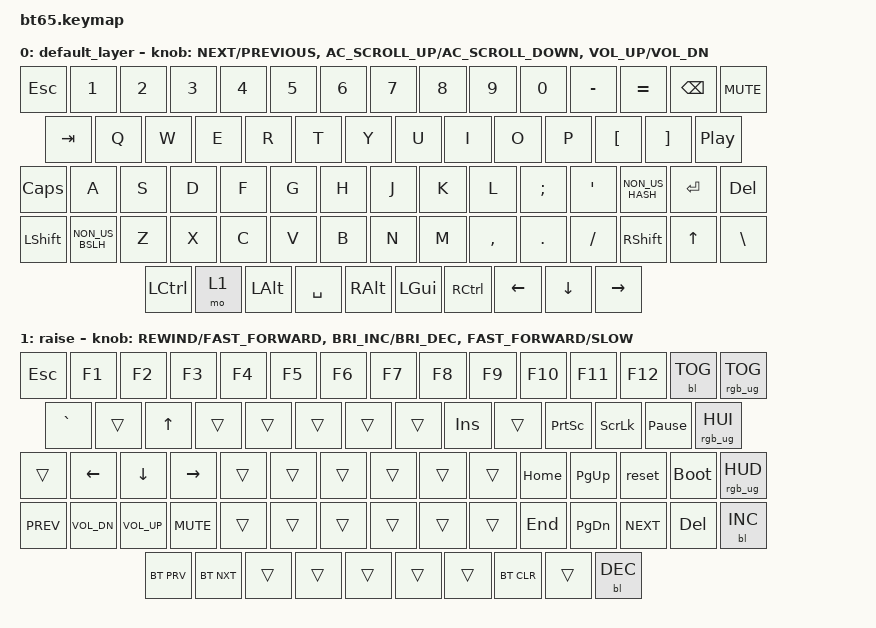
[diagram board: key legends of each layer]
#include <behaviors.dtsi>
#include <dt-bindings/zmk/keys.h>
#include <dt-bindings/zmk/bt.h>
#include <dt-bindings/zmk/rgb.h>
#include <dt-bindings/zmk/backlight.h>
#include <dt-bindings/zmk/ext_power.h>

/ {
    macros {
        forward_tab: forward_tab {
            label = "For_forward_tab";
            compatible = "zmk,behavior-macro";
            #binding-cells = <0>;
	    wait-ms = <30>;
            tap-ms = <40>;
            bindings
                = <&macro_tap &kp TAB &kp LALT &kp LALT>
                ;
        };
	back_tab: back_tab {
            label = "For_back_tab";
            compatible = "zmk,behavior-macro";
            #binding-cells = <0>;
	    wait-ms = <10>;
            tap-ms = <10>;
            bindings
                = <&macro_press &kp LALT>
		, <&macro_press &kp LSHIFT>
                , <&macro_tap &kp TAB>
		, <&macro_release &kp LSHIFT>
		, <&macro_release &kp LALT>
                ;
        };
    };
};
/ {
	keymap {
		compatible = "zmk,keymap";

		default_layer {
				// ------------------------------------------------------------------------------------------------------------
				// |  `  |  1  |  2  |  3  |  4  |  5  |  6  |  7  |  8  |  9  |  0  |  -  |  =  |BKSP | INS		|
				// | TAB  |  Q  |  W  |  E  |  R  |  T  |  Y  |  U  |  I  |  O  |  P  |  [  |  ]  |   \    | DEL		|
				// | CAPS  |  A  |  S  |  D  |  F  |  G  |  H  |  J  |  K  |  L  |  ;  |  '  |     ENTER    |PGUP	|
				// |  SHIFT  |  Z  |  X  |  C  |  V  |  B  |  N  |  M  |  ,  |  .  | /   |   SHIFT  | UP   | PGDN|
				// |  CTL  |  WIN  |  ALT  |            SPACE               | ALT | 1    |  MENU| LEFT |  DOWN    | RIGHT	|
				// ------------------------------------------------------------------------------------------------------------
			bindings = <

				&kp ESC &kp N1 &kp N2 &kp N3 &kp N4 &kp N5 &kp N6 &kp N7 &kp  N8   &kp  N9   &kp N0 &kp MINUS &kp EQUAL &kp BKSP &kp C_MUTE
				&kp TAB  &kp Q  &kp W  &kp E  &kp R  &kp T  &kp Y  &kp U  &kp  I    &kp  O  &kp  P   &kp LBKT &kp RBKT		&kp C_PLAY_PAUSE
				&kp CLCK  &kp A  &kp S  &kp D  &kp F  &kp G  &kp H  &kp J  &kp  K    &kp  L  &kp SEMI &kp SQT &kp NON_US_HASH 	&kp RET &kp DEL
				&kp LSHFT &kp NON_US_BSLH &kp Z  &kp X  &kp C  &kp V  &kp B  &kp N  &kp M  &kp COMMA &kp DOT &kp FSLH   &kp RSHFT &kp UP &kp BSLH
				&kp LCTRL &mo 1 &kp LALT            &kp SPACE                          &kp RALT  &kp LGUI &kp RCTRL &kp LEFT &kp DOWN &kp RIGHT
			>;
			sensor-bindings = <&inc_dec_kp  C_NEXT C_PREVIOUS  &inc_dec_kp C_AC_SCROLL_UP C_AC_SCROLL_DOWN &inc_dec_kp C_VOL_UP C_VOL_DN>;
		};
		raise {
			bindings = <
				&kp ESC &kp F1 &kp F2 &kp F3 &kp F4 &kp F5 &kp F6 &kp F7 &kp  F8   &kp  F9   &kp F10  &kp F11 &kp F12 &bl BL_TOG &rgb_ug RGB_TOG
				&kp GRAVE &trans &kp UP &trans &trans &trans &trans &trans &kp INS &trans &kp PSCRN &kp SLCK &kp PAUSE_BREAK  &rgb_ug RGB_HUI
				&trans    &kp LEFT &kp DOWN &kp RIGHT &trans &trans &trans &trans &trans &trans &kp HOME  &kp PG_UP &reset  &bootloader &rgb_ug RGB_HUD
				&kp C_PREV &kp C_VOL_DN &kp C_VOL_UP &kp C_MUTE &trans &trans &trans &trans &trans &trans &kp END &kp PG_DN  &kp C_NEXT &kp DEL &bl BL_INC
				&bt BT_PRV &bt BT_NXT  &trans              &trans                            &trans   &trans   &trans &bt BT_CLR &trans &bl BL_DEC
			>;
			sensor-bindings = <&inc_dec_kp C_REWIND C_FAST_FORWARD &inc_dec_kp C_BRIGHTNESS_INC C_BRIGHTNESS_DEC &inc_dec_kp C_FAST_FORWARD C_SLOW >;
		};
	};
};
